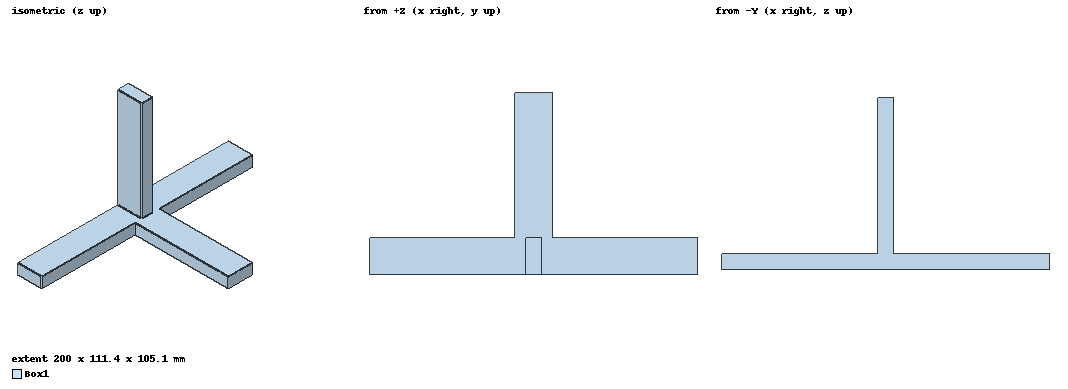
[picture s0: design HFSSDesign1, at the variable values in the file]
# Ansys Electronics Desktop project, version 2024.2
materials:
  vacuum: permittivity=1

design HFSSDesign1 (HFSS, HFSS Terminal Network, model units mm)
options: Allow_Material_Override
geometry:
  Box1 [vacuum] = box(corner=(-11.43mm, 0mm, -5.08mm), size=(22.86mm, 100mm, 10.16mm))
  Box1_1 = Box1.duplicate_around_axis(axis=Z, angle=90deg, total=2)
  Box1_2 = Box1.duplicate_around_axis(axis=Z, angle=-90deg, total=2)
  Box1_1_1 = Box1_1.duplicate_around_axis(axis=Y, angle=-90deg, total=2)
  Box1.unite(Box1_1, Box1_2, Box1_1_1)
  Box1.rotate(axis=Y, angle=180deg)
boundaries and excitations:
  PerfE1: Perfect E Faces=Box1.face(at (0, 44.285, 5.08), at (5.08, 0, 52.54), at (0, 11.43, 52.54), at (55.715, 11.43, 0), at (11.43, 55.715, 0), at (-55.715, 11.43, 0), at (0, -11.43, 47.46), at (0, 44.285, -5.08))
  1: Wave Port Faces=Box1.face(at (-100, 0, 0)) WavePortType=Modal NumModes=1 Modes{Mode1{IntLine{(-100, 0, -5.08) -> (-100, 0, 5.08)} CharImp=Zpi}}
  2: Wave Port Faces=Box1.face(at (100, 0, 0)) WavePortType=Modal NumModes=1 Modes{Mode1{IntLine{(100, 0, -5.08) -> (100, 0, 5.08)} CharImp=Zpi}}
  3: Wave Port Faces=Box1.face(at (0, 100, 0)) WavePortType=Modal NumModes=1 Modes{Mode1{IntLine{(0, 100, -5.08) -> (0, 100, 5.08)} CharImp=Zpi}}
  4: Wave Port Faces=Box1.face(at (0, 0, 100)) WavePortType=Modal NumModes=1 Modes{Mode1{IntLine{(5.08, 0, 100) -> (-5.08, 0, 100)} CharImp=Zpi}}
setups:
  Setup1: HfssDriven Frequency=10GHz MaxDeltaS=0.02 MaximumPasses=6 MinimumPasses=1 MinimumConvergedPasses=1 PercentRefinement=30 BasisOrder=1 PortAccuracy=2 DrivenSolverType="Direct Solver"
    sweep Sweep: 6GHz to 15GHz step 0.1GHz; Type=Interpolating InterpTolerance=0.5 InterpMaxSolns=250 PassivityErrorTolerance=0.0001
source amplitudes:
  1:1: 1V 0deg
  2:1, 3:1, 4:1: 0V 0deg
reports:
  S Parameter Plot 1: dB(S(1,1)), dB(S(2,1)), dB(S(1,2)), dB(S(2,2)) vs Freq on Setup1 : Sweep
